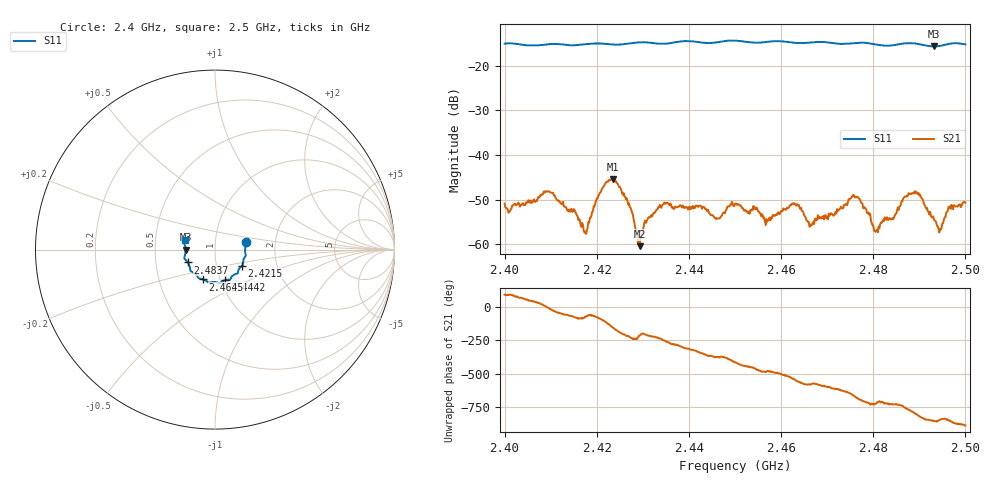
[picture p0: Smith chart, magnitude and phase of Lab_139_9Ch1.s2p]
# Hz S RI R 50
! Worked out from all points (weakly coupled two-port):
!   601 points, 2.4 GHz to 2.5 GHz, reference 50 ohm
!   highest |S21| = -45.34 dB at 2.4235 GHz (marker M1); lowest = -60.4 dB at 2.4293 GHz (marker M2)
!   lowest |S11| = -15.7 dB at 2.4932 GHz (marker M3), VSWR 1.39, Z = 35.9 - j0.0514 ohm
!   |S11| at or under -10 dB: start of sweep to end of sweep
!   S12 and S22 are empty: the file has one direction only
!   S11 on the Smith chart (normalised r, x): 2.4 GHz: 1.41, +0.12; 2.4215 GHz: 1.33, -0.25; 2.4442 GHz: 1.05, -0.37; 2.4645 GHz: 0.83, -0.29; 2.4837 GHz: 0.73, -0.11; 2.5 GHz: 0.71, +0.07
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2.4e9  0.1712 0.04  1.01e-05 0.00286  0 0  0 0
2.409667e9  0.1713 -0.0284  0.0038 -0.000884  0 0  0 0
2.416667e9  0.1567 -0.0698  0.000173 -0.00155  0 0  0 0
2.417833e9  0.1557 -0.0779  0.000435 -0.00134  0 0  0 0
2.4215e9  0.1511 -0.0897  -0.00108 -0.00433  0 0  0 0
2.4235e9  0.1416 -0.0981  -0.0049 -0.00227  0 0  0 0
2.427e9  0.1284 -0.1212  -0.00216 0.00191  0 0  0 0
2.429333e9  0.127 -0.1309  -0.00079 0.000535  0 0  0 0
2.433333e9  0.1082 -0.1386  -0.00152 0.00211  0 0  0 0
2.444167e9  0.0565 -0.1696  0.00242 -0.000201  0 0  0 0
2.45e9  0.0248 -0.1891  0.0017 -0.00228  0 0  0 0
2.456833e9  -0.0221 -0.1823  -0.00103 -0.00161  0 0  0 0
2.4645e9  -0.0659 -0.1661  -0.00205 0.00119  0 0  0 0
2.466667e9  -0.0826 -0.1619  -0.00132 0.000962  0 0  0 0
2.475833e9  -0.1286 -0.123  0.00204 0.00288  0 0  0 0
2.4805e9  -0.1387 -0.1028  0.00138 -8.56e-05  0 0  0 0
2.483333e9  -0.149 -0.0749  0.00188 -0.000157  0 0  0 0
2.483667e9  -0.151 -0.0716  0.0019 -0.000221  0 0  0 0
2.489e9  -0.1712 -0.0446  0.00114 -0.00376  0 0  0 0
2.493167e9  -0.1635 -0.000696  -0.00127 -0.00141  0 0  0 0
2.4945e9  -0.1653 0.0158  -0.000821 -0.00125  0 0  0 0
2.5e9  -0.1652 0.0508  -0.00284 -0.000723  0 0  0 0
